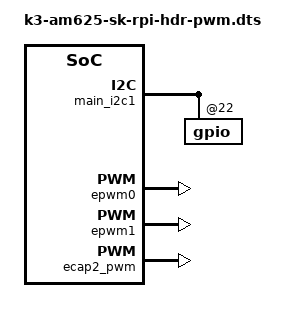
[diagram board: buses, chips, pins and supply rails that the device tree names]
// SPDX-License-Identifier: GPL-2.0
/**
 * DT Overlay for enabling PWM output on RPi header on AM625-SK board.
 *
 * Copyright (C) 2022 Texas Instruments Incorporated - https://www.ti.com/
 */

/dts-v1/;
/plugin/;

#include <dt-bindings/pinctrl/k3.h>
#include <dt-bindings/gpio/gpio.h>

&main_pmx0 {
	main_epwm0_pins_default: main-epwm0-pins-default {
		pinctrl-single,pins = <
			AM62X_IOPAD(0x01ac, PIN_OUTPUT, 6) /* (E19) MCASP0_AFSR.EHRPWM0_A */
		>;
	};
	main_epwm1_pins_default: main-epwm1-pins-default {
		pinctrl-single,pins = <
			AM62X_IOPAD(0x01a0, PIN_OUTPUT, 6) /* (E18) MCASP0_AXR0.EHRPWM1_B */
		>;
	};
	main_ecap1_pins_default: main-ecap1-pins-default {
		pinctrl-single,pins = <
			AM62X_IOPAD(0x01a4, PIN_OUTPUT, 2) /* (B20) MCASP0_ACLKX.ECAP2_IN_APWM_OUT */
		>;
	};
};

&main_i2c1 {
	gpio@22 {
		fet_sel {
			gpio-hog;
			gpios = <21 GPIO_ACTIVE_HIGH>;
			output-low;
			line-name = "UART1_FET_SEL";
		};
	};
};

&epwm0 {
	pinctrl-names = "default";
	pinctrl-0 = <&main_epwm0_pins_default>;
	status = "okay";
};

&epwm1 {
	pinctrl-names = "default";
	pinctrl-0 = <&main_epwm1_pins_default>;
	status = "okay";
};

&ecap2_pwm {
	pinctrl-names = "default";
	pinctrl-0 = <&main_ecap1_pins_default>;
	status = "okay";
};
